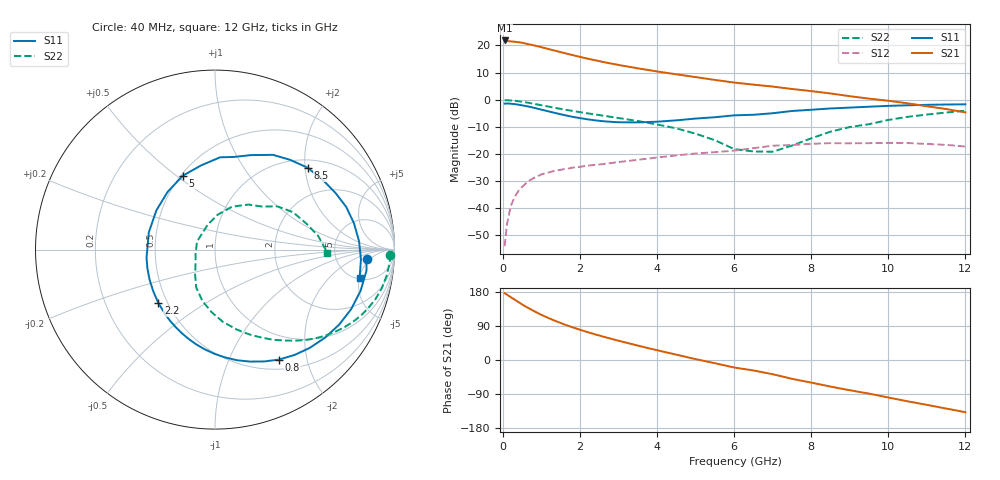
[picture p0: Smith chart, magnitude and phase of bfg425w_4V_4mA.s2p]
! Filename: 44bfg425.001
! BFG425W Field C1
! V1=8.166E-001V,V2=4.000E+000V, I1=3.940E-005A, I2=4.000E-003A
# GHz  S  MA  R 50
!  S11  S21  S12  S22
!Freq(GHz)  Mag  Ang  Mag  Ang  Mag  Ang  Mag  Ang
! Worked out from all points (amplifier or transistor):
!   44 points, 40 MHz to 12 GHz, reference 50 ohm
!   highest |S21| = 21.8 dB at 40 MHz (marker M1)
!   |S21| within 3 dB of that: start of sweep to 1.136 GHz
!   unconditionally stable (mu >= 1): 2.621 GHz to end of sweep
!   at 700 MHz: K = 0.31, MSG = 25.0 dB, |S12| = -29.6 dB
!   at 2.4 GHz: K = 0.92, MSG = 19.3 dB, |S12| = -24.0 dB
!   at 12 GHz: K = 1.56, MAG = 1.9 dB, |S12| = -17.3 dB
!   S11 on the Smith chart (normalised r, x): 40 MHz: 11, -4; 800 MHz: 0.63, -1.55; 2.2 GHz: 0.45, -0.33; 5 GHz: 0.51, +0.53; 8.5 GHz: 1.19, +2.06; 12 GHz: 5.20, -5.04
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0.04  0.846 -3.4  12.34 176.2  0.002 50.3  0.977 -1.6
0.2  0.843 -15.8  11.86 165.7  0.011 74.8  0.967 -8.8
0.3  0.828 -23.6  11.67 159.4  0.016 72.0  0.954 -13.0
0.5  0.785 -38.7  11.16 146.2  0.025 64.7  0.914 -20.9
0.6  0.761 -45.9  10.77 140.3  0.029 61.2  0.891 -24.5
0.8  0.709 -59.8  10.01 129.2  0.036 54.4  0.839 -31.2
1.1  0.629 -78.7  8.867 114.3  0.044 46.2  0.764 -39.6
1.3  0.581 -90.2  8.146 105.5  0.048 41.9  0.718 -44.4
1.5  0.538 -101.3  7.495 97.4  0.051 38.3  0.676 -48.6
1.8  0.484 -117.0  6.631 86.4  0.056 34.1  0.621 -54.4
2.2  0.434 -136.6  5.693 73.4  0.061 29.7  0.559 -61.6
2.6  0.401 -155.3  4.952 61.7  0.065 26.4  0.507 -68.4
3  0.384 -173.3  4.363 50.8  0.071 23.4  0.459 -75.1
3.5  0.381 165.5  3.778 38.0  0.078 19.5  0.404 -83.9
4.5  0.416 129.4  2.931 14.0  0.094 10.2  0.296 -103.5
5  0.449 113.6  2.607 2.3  0.102 3.6  0.236 -116.3
6  0.515 86.9  2.067 -19.8  0.115 -9.3  0.123 -151.2
6.5  0.527 78.4  1.892 -27.6  0.128 -9.7  0.111 -167.1
7.5  0.619 58.5  1.574 -49.7  0.146 -28.4  0.143 107.1
8.5  0.689 41.5  1.301 -70.2  0.158 -45.2  0.258 68.2
10.5  0.788 10.7  0.857 -109.0  0.159 -80.6  0.483 25.5
12  0.821 -11.1  0.584 -137.7  0.137 -112.1  0.626 -1.6
